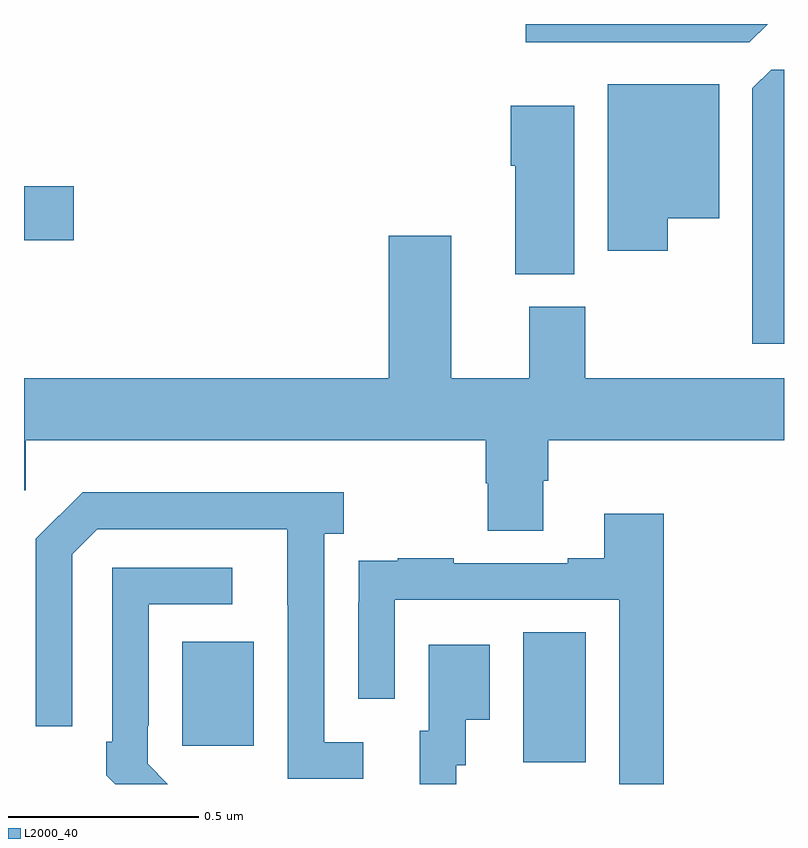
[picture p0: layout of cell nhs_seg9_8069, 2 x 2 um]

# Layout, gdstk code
import gdstk
lib = gdstk.Library(unit=1e-6, precision=1e-09)
def R(c, l, rs):  # rectangles x0, y0, x1, y1
    for r in rs: c.add(gdstk.rectangle(r[:2], r[2:], *l))
def P(c, l, *ps):  # polygons
    for p in ps: c.add(gdstk.Polygon(p, *l))
L2000_40 = (2000, 40)

nhs_seg9_8069 = lib.new_cell('nhs_seg9_8069')
R(nhs_seg9_8069, L2000_40, [(213.314,1211.557,213.478,1211.9), (212.417,1211.601,212.605,1211.875), (212,1212.931,212.131,1213.073)])
P(nhs_seg9_8069, L2000_40, [(213.957,1213.5),(213.321,1213.5),(213.321,1213.452),(213.909,1213.452)],
  [(214,1213.38),(213.966,1213.38),(213.917,1213.331),(213.917,1212.659),(214,1212.659)],
  [(213.694,1212.989),(213.829,1212.989),(213.829,1213.342),(213.536,1213.342),(213.536,1212.903),(213.694,1212.903)],
  [(213.448,1213.285),(213.281,1213.285),(213.281,1213.127),(213.293,1213.127),(213.293,1212.841),(213.448,1212.841)],
  [(213.367,1212.298),(213.38,1212.298),(213.38,1212.404),(214,1212.404),(214,1212.568),(213.477,1212.568),(213.477,1212.756),(213.329,1212.756),(213.329,1212.568),(213.124,1212.568),(213.124,1212.943),(212.96,1212.943),(212.96,1212.568),(212,1212.568),(212,1212.273),(212.004,1212.273),(212.004,1212.404),(213.215,1212.404),(213.215,1212.291),(213.22,1212.291),(213.22,1212.166),(213.367,1212.166)],
  [(212.893,1211.61),(212.79,1211.61),(212.79,1212.158),(212.842,1212.158),(212.842,1212.268),(212.154,1212.268),(212.031,1212.145),(212.031,1211.652),(212.127,1211.652),(212.127,1212.105),(212.193,1212.171),(212.693,1212.171),(212.693,1211.971),(212.694,1211.971),(212.694,1211.514),(212.893,1211.514)],
  [(213.683,1212.211),(213.527,1212.211),(213.527,1212.094),(213.431,1212.094),(213.431,1212.081),(213.131,1212.081),(213.131,1212.094),(212.983,1212.094),(212.983,1212.087),(212.881,1212.087),(212.881,1211.978),(212.88,1211.978),(212.88,1211.724),(212.976,1211.724),(212.976,1211.985),(213.567,1211.985),(213.567,1211.5),(213.683,1211.5)],
  [(212.325,1211.553),(212.325,1211.653),(212.328,1211.653),(212.328,1211.973),(212.548,1211.973),(212.548,1212.069),(212.232,1212.069),(212.232,1211.611),(212.217,1211.611),(212.217,1211.523),(212.24,1211.5),(212.378,1211.5)],
  [(213.138,1211.55),(213.163,1211.55),(213.163,1211.669),(213.226,1211.669),(213.226,1211.866),(213.065,1211.866),(213.065,1211.64),(213.041,1211.64),(213.041,1211.5),(213.138,1211.5)])

lib.write_gds('nhs_seg9_8069.gds')
